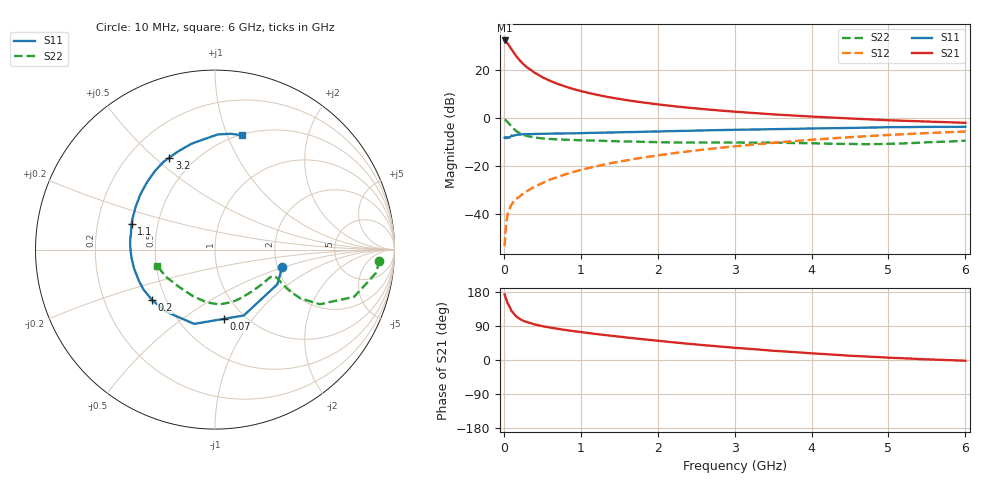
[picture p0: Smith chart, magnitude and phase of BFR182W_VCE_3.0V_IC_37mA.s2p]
! Infineon Technologies  Discrete & RF Semiconductors
! BFR182W
! VCE =  3.0 V,  IC =  37 mA
! Common Emitter S-Parameters:  Jan 2017
# GHz  S  MA  R  50
!  f  S11  S21  S12  S22
! GHz  MAG  ANG  MAG  ANG  MAG  ANG  MAG  ANG
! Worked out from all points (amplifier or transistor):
!   77 points, 10 MHz to 6 GHz, reference 50 ohm
!   highest |S21| = 32.4 dB at 10 MHz (marker M1)
!   |S21| within 3 dB of that: start of sweep to 85.14 MHz
!   unconditionally stable (mu >= 1): 386.1 MHz to 2.448 GHz
!   at 130 MHz: K = 0.62, MSG = 31.1 dB, |S12| = -34.8 dB
!   at 2.2 GHz: K = 1.02, MAG = 8.9 dB, |S12| = -14.8 dB
!   at 6 GHz: K = 0.91, MSG = 1.8 dB, |S12| = -5.7 dB
!   S11 on the Smith chart (normalised r, x): 10 MHz: 2.12, -0.50; 70 MHz: 0.81, -0.73; 200 MHz: 0.42, -0.29; 1.1 GHz: 0.35, +0.13; 3.2 GHz: 0.37, +0.56; 6 GHz: 0.51, +1.13
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0.01  0.3875 -14.9  41.59 173.1  0.0021 73.7  0.9183 -3.8
0.02  0.3975 -29.1  41.34 166.7  0.004 84.2  0.9067 -8.2
0.05  0.4006 -66.4  36.21 149.0  0.0099 70.5  0.8187 -18.7
0.07  0.389 -82.7  32.15 142.3  0.0121 66.7  0.753 -21.8
0.1  0.4299 -105.7  27.17 128.9  0.0155 63.0  0.6594 -27.5
0.15  0.4405 -128.2  20.69 117.0  0.0199 60.0  0.5498 -29.7
0.2  0.4497 -141.5  16.42 109.3  0.0223 62.0  0.4862 -29.2
0.25  0.4564 -151.0  13.55 103.7  0.0266 62.6  0.447 -28.1
0.3  0.4583 -157.6  11.47 99.9  0.0296 65.4  0.42 -26.9
0.4  0.463 -166.8  8.803 93.8  0.0367 67.2  0.3905 -25.2
0.5  0.4669 -173.8  7.109 89.4  0.0435 70.1  0.3738 -24.4
0.6  0.4703 -179.1  5.976 85.6  0.0517 70.8  0.3635 -24.1
0.7  0.4736 176.6  5.148 82.3  0.0583 72.5  0.3567 -24.4
0.9  0.4769 169.0  4.033 76.4  0.0742 73.4  0.3468 -26.0
1.1  0.487 162.7  3.339 71.2  0.0898 73.6  0.3394 -28.4
1.5  0.5022 151.9  2.495 61.7  0.1222 73.1  0.3257 -35.1
2.1  0.5269 137.8  1.845 48.8  0.1741 69.8  0.3103 -48.8
3.1  0.5692 118.3  1.319 30.8  0.2648 61.7  0.3054 -75.4
3.2  0.572 116.4  1.285 29.3  0.2742 60.8  0.3047 -77.9
4.1  0.6061 101.2  1.05 16.4  0.3597 51.7  0.2938 -102.0
5.1  0.643 87.3  0.885 5.3  0.4499 40.4  0.2909 -137.1
6  0.6543 76.7  0.792 -2.0  0.521 30.0  0.3349 -163.8
